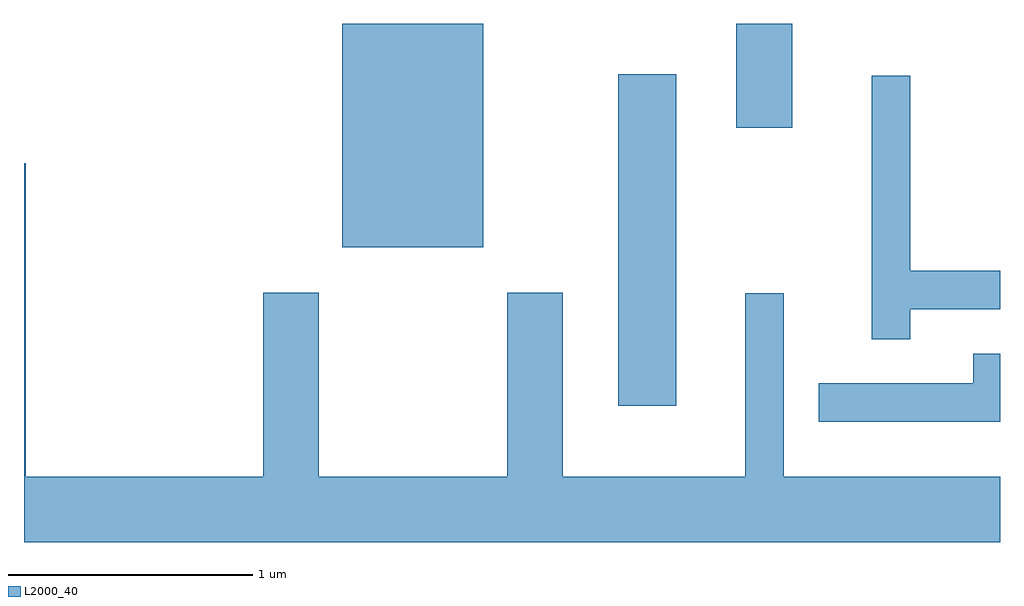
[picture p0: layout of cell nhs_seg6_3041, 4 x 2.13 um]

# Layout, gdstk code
import gdstk
lib = gdstk.Library(unit=1e-6, precision=1e-09)
def R(c, l, rs):  # rectangles x0, y0, x1, y1
    for r in rs: c.add(gdstk.rectangle(r[:2], r[2:], *l))
def P(c, l, *ps):  # polygons
    for p in ps: c.add(gdstk.Polygon(p, *l))
L2000_40 = (2000, 40)

nhs_seg6_3041 = lib.new_cell('nhs_seg6_3041')
R(nhs_seg6_3041, L2000_40, [(280.046,1550.596,280.284,1551.954), (278.916,1551.246,279.494,1552.162), (280.531,1551.736,280.759,1552.162)])
P(nhs_seg6_3041, L2000_40, [(281.244,1550.991),(281.611,1550.991),(281.611,1551.149),(281.244,1551.149),(281.244,1551.948),(281.086,1551.948),(281.086,1550.868),(281.244,1550.868)],
  [(281.611,1550.304),(280.724,1550.304),(280.724,1551.058),(280.566,1551.058),(280.566,1550.304),(279.819,1550.304),(279.819,1551.059),(279.591,1551.059),(279.591,1550.304),(278.819,1550.304),(278.819,1551.059),(278.591,1551.059),(278.591,1550.304),(277.619,1550.304),(277.619,1551.589),(277.611,1551.589),(277.611,1550.036),(281.611,1550.036)],
  [(281.611,1550.809),(281.501,1550.809),(281.501,1550.689),(280.868,1550.689),(280.868,1550.531),(281.611,1550.531)])

lib.write_gds('nhs_seg6_3041.gds')
